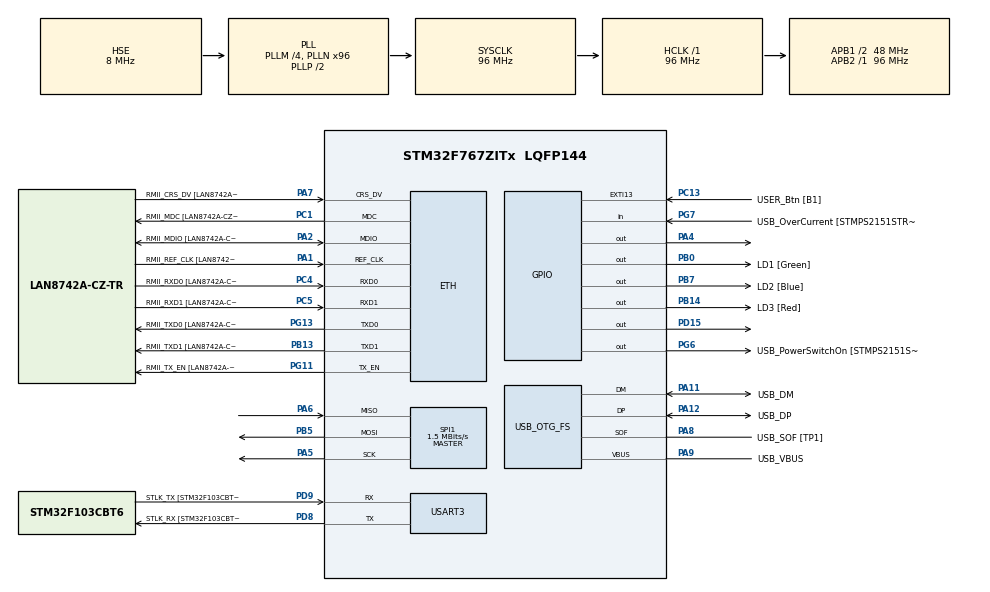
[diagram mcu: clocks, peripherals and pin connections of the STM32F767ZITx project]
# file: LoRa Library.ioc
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ETH.MediaInterface=HAL_ETH_RMII_MODE
ETH.PHY_Name=LAN8742A_PHY_ADDRESS
ETH.PHY_Value=0
ETH.PhyAddress=0
Mcu.Family=STM32F7
Mcu.Name=STM32F767ZITx
Mcu.Package=LQFP144
NVIC.PriorityGroup=NVIC_PRIORITYGROUP_4
PA1.GPIO_Label=RMII_REF_CLK [LAN8742A-CZ-TR_REFCLK0]
PA1.Mode=RMII
PA1.Signal=ETH_REF_CLK
PA10.GPIO_Label=USB_ID
PA10.Signal=USB_OTG_FS_ID
PA11.GPIO_Label=USB_DM
PA11.Mode=Device_Only
PA11.Signal=USB_OTG_FS_DM
PA12.GPIO_Label=USB_DP
PA12.Mode=Device_Only
PA12.Signal=USB_OTG_FS_DP
PA13.GPIO_Label=TMS
PA13.Mode=Serial_Wire
PA13.Signal=SYS_JTMS-SWDIO
PA14.GPIO_Label=TCK
PA14.Mode=Serial_Wire
PA14.Signal=SYS_JTCK-SWCLK
PA2.GPIO_Label=RMII_MDIO [LAN8742A-CZ-TR_MDIO]
PA2.Mode=RMII
PA2.Signal=ETH_MDIO
PA4.PinState=GPIO_PIN_SET
PA4.Signal=GPIO_Output
PA5.Mode=Full_Duplex_Master
PA5.Signal=SPI1_SCK
PA6.Mode=Full_Duplex_Master
PA6.Signal=SPI1_MISO
PA7.GPIO_Label=RMII_CRS_DV [LAN8742A-CZ-TR_CRS_DV]
PA7.Mode=RMII
PA7.Signal=ETH_CRS_DV
PA8.GPIO_Label=USB_SOF [TP1]
PA8.Mode=Activate_SOF_FS
PA8.Signal=USB_OTG_FS_SOF
PA9.GPIO_Label=USB_VBUS
PA9.Mode=Activate_VBUS
PA9.Signal=USB_OTG_FS_VBUS
PB0.GPIO_Label=LD1 [Green]
PB0.Signal=GPIO_Output
PB13.GPIO_Label=RMII_TXD1 [LAN8742A-CZ-TR_TXD1]
PB13.Mode=RMII
PB13.Signal=ETH_TXD1
PB14.GPIO_Label=LD3 [Red]
PB14.Signal=GPIO_Output
PB3.GPIO_Label=SWO
PB3.Signal=SYS_JTDO-SWO
PB5.Mode=Full_Duplex_Master
PB5.Signal=SPI1_MOSI
PB7.GPIO_Label=LD2 [Blue]
PB7.Signal=GPIO_Output
PC1.GPIO_Label=RMII_MDC [LAN8742A-CZ-TR_MDC]
PC1.Mode=RMII
PC1.Signal=ETH_MDC
PC13.GPIO_Label=USER_Btn [B1]
PC13.Signal=GPXTI13
PC14/OSC32_IN.Mode=LSE-External-Oscillator
PC14/OSC32_IN.Signal=RCC_OSC32_IN
PC15/OSC32_OUT.Mode=LSE-External-Oscillator
PC15/OSC32_OUT.Signal=RCC_OSC32_OUT
PC4.GPIO_Label=RMII_RXD0 [LAN8742A-CZ-TR_RXD0]
PC4.Mode=RMII
PC4.Signal=ETH_RXD0
PC5.GPIO_Label=RMII_RXD1 [LAN8742A-CZ-TR_RXD1]
PC5.Mode=RMII
PC5.Signal=ETH_RXD1
PD15.PinState=GPIO_PIN_SET
PD15.Signal=GPIO_Output
PD8.GPIO_Label=STLK_RX [STM32F103CBT6_PA3]
PD8.Mode=Asynchronous
PD8.Signal=USART3_TX
PD9.GPIO_Label=STLK_TX [STM32F103CBT6_PA2]
PD9.Mode=Asynchronous
PD9.Signal=USART3_RX
PG11.GPIO_Label=RMII_TX_EN [LAN8742A-CZ-TR_TXEN]
PG11.Mode=RMII
PG11.Signal=ETH_TX_EN
PG13.GPIO_Label=RMII_TXD0 [LAN8742A-CZ-TR_TXD0]
PG13.Mode=RMII
PG13.Signal=ETH_TXD0
PG6.GPIO_Label=USB_PowerSwitchOn [STMPS2151STR_EN]
PG6.Signal=GPIO_Output
PG7.GPIO_Label=USB_OverCurrent [STMPS2151STR_FAULT]
PG7.Signal=GPIO_Input
PH0/OSC_IN.GPIO_Label=MCO [STM32F103CBT6_PA8]
PH0/OSC_IN.Mode=HSE-External-Clock-Source
PH0/OSC_IN.Signal=RCC_OSC_IN
PH1/OSC_OUT.Mode=HSE-External-Clock-Source
PH1/OSC_OUT.Signal=RCC_OSC_OUT
ProjectManager.HeapSize=0x200
ProjectManager.StackSize=0x400
ProjectManager.TargetToolchain=STM32CubeIDE
RCC.48MHZClocksFreq_Value=24000000
RCC.AHBFreq_Value=96000000
RCC.APB1CLKDivider=RCC_HCLK_DIV2
RCC.APB1Freq_Value=48000000
RCC.APB1TimFreq_Value=96000000
RCC.APB2Freq_Value=96000000
RCC.APB2TimFreq_Value=96000000
RCC.CortexFreq_Value=96000000
RCC.HCLKFreq_Value=96000000
RCC.HSE_VALUE=8000000
RCC.HSI_VALUE=16000000
RCC.PLLM=4
RCC.PLLMUL=RCC_PLL_MUL9
RCC.PLLN=96
RCC.PLLQ=4
RCC.PRESCALERUSB=RCC_USBCLKSOURCE_PLL_DIV1_5
RCC.SYSCLKFreq_VALUE=96000000
RCC.SYSCLKSource=RCC_SYSCLKSOURCE_PLLCLK
RCC.SYSCLKSourceVirtual=RCC_SYSCLKSOURCE_PLLCLK
RCC.USBFreq_Value=48000000
RCC.VCOOutputFreq_Value=192000000
SPI1.BaudRatePrescaler=SPI_BAUDRATEPRESCALER_64
SPI1.CalculateBaudRate=1.5 MBits/s
SPI1.DataSize=SPI_DATASIZE_8BIT
SPI1.Direction=SPI_DIRECTION_2LINES
SPI1.Mode=SPI_MODE_MASTER
SPI1.NSSPMode=SPI_NSS_PULSE_DISABLE
SPI1.VirtualType=VM_MASTER
USART3.VirtualMode-Asynchronous=VM_ASYNC
USB_OTG_FS.VirtualMode=Device_Only
board=NUCLEO-F767ZI

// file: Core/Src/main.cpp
/* USER CODE BEGIN Header */
/**
  ******************************************************************************
  * @file           : main.c
  * @brief          : Main program body
  ******************************************************************************
  * @attention
  *
  * Copyright (c) 2023 STMicroelectronics.
  * All rights reserved.
  *
  * This software is licensed under terms that can be found in the LICENSE file
  * in the root directory of this software component.
  * If no LICENSE file comes with this software, it is provided AS-IS.
  *
  ******************************************************************************
  */
/* USER CODE END Header */
#include "main.h"
#include "string.h"

/* USER CODE BEGIN Includes */
#include "LoRa.h"
#include <strings.h>
#include <stdio.h>
#include <stdlib.h>
/* USER CODE END Includes */

#if defined ( __ICCARM__ ) /*!< IAR Compiler */
#pragma location=0x2007c000
ETH_DMADescTypeDef  DMARxDscrTab[ETH_RX_DESC_CNT]; /* Ethernet Rx DMA Descriptors */
#pragma location=0x2007c0a0
ETH_DMADescTypeDef  DMATxDscrTab[ETH_TX_DESC_CNT]; /* Ethernet Tx DMA Descriptors */

#elif defined ( __CC_ARM )  /* MDK ARM Compiler */

__attribute__((at(0x2007c000))) ETH_DMADescTypeDef  DMARxDscrTab[ETH_RX_DESC_CNT]; /* Ethernet Rx DMA Descriptors */
__attribute__((at(0x2007c0a0))) ETH_DMADescTypeDef  DMATxDscrTab[ETH_TX_DESC_CNT]; /* Ethernet Tx DMA Descriptors */

#elif defined ( __GNUC__ ) /* GNU Compiler */
ETH_DMADescTypeDef DMARxDscrTab[ETH_RX_DESC_CNT] __attribute__((section(".RxDecripSection"))); /* Ethernet Rx DMA Descriptors */
ETH_DMADescTypeDef DMATxDscrTab[ETH_TX_DESC_CNT] __attribute__((section(".TxDecripSection")));   /* Ethernet Tx DMA Descriptors */

#endif

ETH_TxPacketConfig TxConfig;

ETH_HandleTypeDef heth;

SPI_HandleTypeDef hspi1;

UART_HandleTypeDef huart3;

PCD_HandleTypeDef hpcd_USB_OTG_FS;

void SystemClock_Config(void);
static void MX_GPIO_Init(void);
static void MX_ETH_Init(void);
static void MX_USART3_UART_Init(void);
static void MX_USB_OTG_FS_PCD_Init(void);
static void MX_SPI1_Init(void);

int main(void)
{

  /* MCU Configuration--------------------------------------------------------*/

  /* Reset of all peripherals, Initializes the Flash interface and the Systick. */
  HAL_Init();

  /* Configure the system clock */
  SystemClock_Config();

  /* Initialize all configured peripherals */
  MX_GPIO_Init();
  MX_ETH_Init();
  MX_USART3_UART_Init();
  MX_USB_OTG_FS_PCD_Init();
  MX_SPI1_Init();
  /* USER CODE BEGIN 2 */

  LoRa test(&hspi1,&huart3);
  test.begin();

  //uint8_t read = test.readRegister(0x09);

  uint8_t text[] = "Initialisation terminée\r\n##### Reception #####\r\n";
  HAL_UART_Transmit(&huart3,text,sizeof(text),100);

  //char data[7];
  //sprintf(data,"0x%x\r\n",read);
  //HAL_UART_Transmit(&huart3, (uint8_t*)data, sizeof(data), 100);
  /* USER CODE END 2 */

  /* Infinite loop */
  /* USER CODE BEGIN WHILE */

  uint8_t test_data[1];
  uint8_t wait_txt[]="attente : ";
  uint8_t tx_done[]="Tx_done\r\n";
  uint8_t tx_data = 0xFF;
  test.startReceiving();

  while (1)
  {

	  HAL_UART_Transmit(&huart3, wait_txt, sizeof(wait_txt), 100);
	  while(test.LoRa_receive(test_data, 1)==0)
	  {

	  }
	char data[7];
	sprintf(data,"0x%x\r\n",test_data[0]);
	HAL_UART_Transmit(&huart3, (uint8_t*)data, sizeof(data), 100);

	  HAL_Delay(1000);

	  /*
	  test.LoRa_transmit(&tx_data, 1, HAL_MAX_DELAY);
	  HAL_UART_Transmit(&huart3, tx_done, sizeof(tx_done), HAL_MAX_DELAY);
	  HAL_Delay(3000);
	  */

    /* USER CODE END WHILE */

  }
}

void SystemClock_Config(void)
{
  RCC_OscInitTypeDef RCC_OscInitStruct = {0};
  RCC_ClkInitTypeDef RCC_ClkInitStruct = {0};

  /** Configure LSE Drive Capability
  */
  HAL_PWR_EnableBkUpAccess();

  /** Configure the main internal regulator output voltage
  */
  __HAL_RCC_PWR_CLK_ENABLE();
  __HAL_PWR_VOLTAGESCALING_CONFIG(PWR_REGULATOR_VOLTAGE_SCALE3);

  /** Initializes the RCC Oscillators according to the specified parameters
  * in the RCC_OscInitTypeDef structure.
  */
  RCC_OscInitStruct.OscillatorType = RCC_OSCILLATORTYPE_HSE;
  RCC_OscInitStruct.HSEState = RCC_HSE_BYPASS;
  RCC_OscInitStruct.PLL.PLLState = RCC_PLL_ON;
  RCC_OscInitStruct.PLL.PLLSource = RCC_PLLSOURCE_HSE;
  RCC_OscInitStruct.PLL.PLLM = 4;
  RCC_OscInitStruct.PLL.PLLN = 96;
  RCC_OscInitStruct.PLL.PLLP = RCC_PLLP_DIV2;
  RCC_OscInitStruct.PLL.PLLQ = 4;
  RCC_OscInitStruct.PLL.PLLR = 2;
  if (HAL_RCC_OscConfig(&RCC_OscInitStruct) != HAL_OK)
  {
    Error_Handler();
  }

  /** Activate the Over-Drive mode
  */
  if (HAL_PWREx_EnableOverDrive() != HAL_OK)
  {
    Error_Handler();
  }

  /** Initializes the CPU, AHB and APB buses clocks
  */
  RCC_ClkInitStruct.ClockType = RCC_CLOCKTYPE_HCLK|RCC_CLOCKTYPE_SYSCLK
                              |RCC_CLOCKTYPE_PCLK1|RCC_CLOCKTYPE_PCLK2;
  RCC_ClkInitStruct.SYSCLKSource = RCC_SYSCLKSOURCE_PLLCLK;
  RCC_ClkInitStruct.AHBCLKDivider = RCC_SYSCLK_DIV1;
  RCC_ClkInitStruct.APB1CLKDivider = RCC_HCLK_DIV2;
  RCC_ClkInitStruct.APB2CLKDivider = RCC_HCLK_DIV1;

  if (HAL_RCC_ClockConfig(&RCC_ClkInitStruct, FLASH_LATENCY_3) != HAL_OK)
  {
    Error_Handler();
  }
}

static void MX_ETH_Init(void)
{

   static uint8_t MACAddr[6];

  heth.Instance = ETH;
  MACAddr[0] = 0x00;
  MACAddr[1] = 0x80;
  MACAddr[2] = 0xE1;
  MACAddr[3] = 0x00;
  MACAddr[4] = 0x00;
  MACAddr[5] = 0x00;
  heth.Init.MACAddr = &MACAddr[0];
  heth.Init.MediaInterface = HAL_ETH_RMII_MODE;
  heth.Init.TxDesc = DMATxDscrTab;
  heth.Init.RxDesc = DMARxDscrTab;
  heth.Init.RxBuffLen = 1524;

  if (HAL_ETH_Init(&heth) != HAL_OK)
  {
    Error_Handler();
  }

  memset(&TxConfig, 0 , sizeof(ETH_TxPacketConfig));
  TxConfig.Attributes = ETH_TX_PACKETS_FEATURES_CSUM | ETH_TX_PACKETS_FEATURES_CRCPAD;
  TxConfig.ChecksumCtrl = ETH_CHECKSUM_IPHDR_PAYLOAD_INSERT_PHDR_CALC;
  TxConfig.CRCPadCtrl = ETH_CRC_PAD_INSERT;

}

static void MX_SPI1_Init(void)
{

  /* SPI1 parameter configuration*/
  hspi1.Instance = SPI1;
  hspi1.Init.Mode = SPI_MODE_MASTER;
  hspi1.Init.Direction = SPI_DIRECTION_2LINES;
  hspi1.Init.DataSize = SPI_DATASIZE_8BIT;
  hspi1.Init.CLKPolarity = SPI_POLARITY_LOW;
  hspi1.Init.CLKPhase = SPI_PHASE_1EDGE;
  hspi1.Init.NSS = SPI_NSS_SOFT;
  hspi1.Init.BaudRatePrescaler = SPI_BAUDRATEPRESCALER_64;
  hspi1.Init.FirstBit = SPI_FIRSTBIT_MSB;
  hspi1.Init.TIMode = SPI_TIMODE_DISABLE;
  hspi1.Init.CRCCalculation = SPI_CRCCALCULATION_DISABLE;
  hspi1.Init.CRCPolynomial = 7;
  hspi1.Init.CRCLength = SPI_CRC_LENGTH_DATASIZE;
  hspi1.Init.NSSPMode = SPI_NSS_PULSE_DISABLE;
  if (HAL_SPI_Init(&hspi1) != HAL_OK)
  {
    Error_Handler();
  }

}

static void MX_USART3_UART_Init(void)
{

  huart3.Instance = USART3;
  huart3.Init.BaudRate = 115200;
  huart3.Init.WordLength = UART_WORDLENGTH_8B;
  huart3.Init.StopBits = UART_STOPBITS_1;
  huart3.Init.Parity = UART_PARITY_NONE;
  huart3.Init.Mode = UART_MODE_TX_RX;
  huart3.Init.HwFlowCtl = UART_HWCONTROL_NONE;
  huart3.Init.OverSampling = UART_OVERSAMPLING_16;
  huart3.Init.OneBitSampling = UART_ONE_BIT_SAMPLE_DISABLE;
  huart3.AdvancedInit.AdvFeatureInit = UART_ADVFEATURE_NO_INIT;
  if (HAL_UART_Init(&huart3) != HAL_OK)
  {
    Error_Handler();
  }

}

static void MX_USB_OTG_FS_PCD_Init(void)
{

  hpcd_USB_OTG_FS.Instance = USB_OTG_FS;
  hpcd_USB_OTG_FS.Init.dev_endpoints = 6;
  hpcd_USB_OTG_FS.Init.speed = PCD_SPEED_FULL;
  hpcd_USB_OTG_FS.Init.dma_enable = DISABLE;
  hpcd_USB_OTG_FS.Init.phy_itface = PCD_PHY_EMBEDDED;
  hpcd_USB_OTG_FS.Init.Sof_enable = ENABLE;
  hpcd_USB_OTG_FS.Init.low_power_enable = DISABLE;
  hpcd_USB_OTG_FS.Init.lpm_enable = DISABLE;
  hpcd_USB_OTG_FS.Init.vbus_sensing_enable = ENABLE;
  hpcd_USB_OTG_FS.Init.use_dedicated_ep1 = DISABLE;
  if (HAL_PCD_Init(&hpcd_USB_OTG_FS) != HAL_OK)
  {
    Error_Handler();
  }

}

static void MX_GPIO_Init(void)
{
  GPIO_InitTypeDef GPIO_InitStruct = {0};

  /* GPIO Ports Clock Enable */
  __HAL_RCC_GPIOC_CLK_ENABLE();
  __HAL_RCC_GPIOH_CLK_ENABLE();
  __HAL_RCC_GPIOA_CLK_ENABLE();
  __HAL_RCC_GPIOB_CLK_ENABLE();
  __HAL_RCC_GPIOD_CLK_ENABLE();
  __HAL_RCC_GPIOG_CLK_ENABLE();

  /*Configure GPIO pin Output Level */
  HAL_GPIO_WritePin(GPIOA, GPIO_PIN_4, GPIO_PIN_SET);

  /*Configure GPIO pin Output Level */
  HAL_GPIO_WritePin(GPIOB, LD1_Pin|LD3_Pin|LD2_Pin, GPIO_PIN_RESET);

  /*Configure GPIO pin Output Level */
  HAL_GPIO_WritePin(GPIOD, GPIO_PIN_15, GPIO_PIN_SET);

  /*Configure GPIO pin Output Level */
  HAL_GPIO_WritePin(USB_PowerSwitchOn_GPIO_Port, USB_PowerSwitchOn_Pin, GPIO_PIN_RESET);

  /*Configure GPIO pin : USER_Btn_Pin */
  GPIO_InitStruct.Pin = USER_Btn_Pin;
  GPIO_InitStruct.Mode = GPIO_MODE_IT_RISING;
  GPIO_InitStruct.Pull = GPIO_NOPULL;
  HAL_GPIO_Init(USER_Btn_GPIO_Port, &GPIO_InitStruct);

  /*Configure GPIO pin : PA4 */
  GPIO_InitStruct.Pin = GPIO_PIN_4;
  GPIO_InitStruct.Mode = GPIO_MODE_OUTPUT_PP;
  GPIO_InitStruct.Pull = GPIO_NOPULL;
  GPIO_InitStruct.Speed = GPIO_SPEED_FREQ_LOW;
  HAL_GPIO_Init(GPIOA, &GPIO_InitStruct);

  /*Configure GPIO pins : LD1_Pin LD3_Pin LD2_Pin */
  GPIO_InitStruct.Pin = LD1_Pin|LD3_Pin|LD2_Pin;
  GPIO_InitStruct.Mode = GPIO_MODE_OUTPUT_PP;
  GPIO_InitStruct.Pull = GPIO_NOPULL;
  GPIO_InitStruct.Speed = GPIO_SPEED_FREQ_LOW;
  HAL_GPIO_Init(GPIOB, &GPIO_InitStruct);

  /*Configure GPIO pin : PD15 */
  GPIO_InitStruct.Pin = GPIO_PIN_15;
  GPIO_InitStruct.Mode = GPIO_MODE_OUTPUT_PP;
  GPIO_InitStruct.Pull = GPIO_NOPULL;
  GPIO_InitStruct.Speed = GPIO_SPEED_FREQ_LOW;
  HAL_GPIO_Init(GPIOD, &GPIO_InitStruct);

  /*Configure GPIO pin : USB_PowerSwitchOn_Pin */
  GPIO_InitStruct.Pin = USB_PowerSwitchOn_Pin;
  GPIO_InitStruct.Mode = GPIO_MODE_OUTPUT_PP;
  GPIO_InitStruct.Pull = GPIO_NOPULL;
  GPIO_InitStruct.Speed = GPIO_SPEED_FREQ_LOW;
  HAL_GPIO_Init(USB_PowerSwitchOn_GPIO_Port, &GPIO_InitStruct);

  /*Configure GPIO pin : USB_OverCurrent_Pin */
  GPIO_InitStruct.Pin = USB_OverCurrent_Pin;
  GPIO_InitStruct.Mode = GPIO_MODE_INPUT;
  GPIO_InitStruct.Pull = GPIO_NOPULL;
  HAL_GPIO_Init(USB_OverCurrent_GPIO_Port, &GPIO_InitStruct);

}

void Error_Handler(void)
{
  __disable_irq();
  while (1)
  {
  }
}
